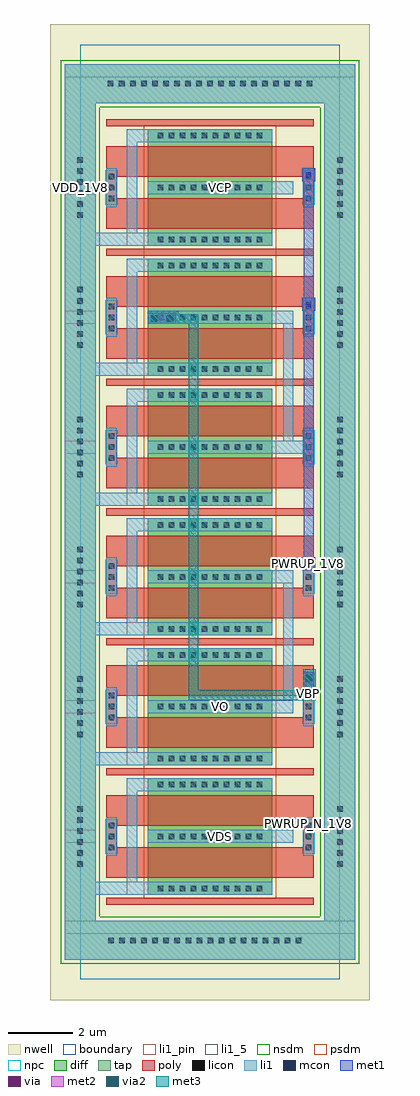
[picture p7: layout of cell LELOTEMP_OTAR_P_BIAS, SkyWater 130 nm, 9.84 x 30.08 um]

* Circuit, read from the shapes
.subckt LELOTEMP_OTAR_P_BIAS PWRUP_1V8 PWRUP_N_1V8 VBP VCP VDD_1V8 VDS VO
XM1 VDS PWRUP_N_1V8 VDD_1V8 VDD_1V8 sky130_fd_pr__pfet_01v8 w=3.84 l=0.94 m=2
XM2 VO VBP VDD_1V8 VDD_1V8 sky130_fd_pr__pfet_01v8 w=3.84 l=0.94 m=2
XM3 VO PWRUP_1V8 VDD_1V8 VDD_1V8 sky130_fd_pr__pfet_01v8 w=3.84 l=0.94 m=2
XM4 VBP VBP VDD_1V8 VDD_1V8 sky130_fd_pr__pfet_01v8 w=3.84 l=0.94 m=2
XM5 VBP PWRUP_1V8 VDD_1V8 VDD_1V8 sky130_fd_pr__pfet_01v8 w=3.84 l=0.94 m=2
XM6 VCP PWRUP_1V8 VDD_1V8 VDD_1V8 sky130_fd_pr__pfet_01v8 w=3.84 l=0.94 m=2
.ends

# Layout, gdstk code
import gdstk
lib = gdstk.Library(unit=1e-6, precision=1e-09)
def R(c, l, rs):  # rectangles x0, y0, x1, y1
    for r in rs: c.add(gdstk.rectangle(r[:2], r[2:], *l))
def A(c, l, x, y, w, h, nx, ny, dx, dy):  # array of equal rectangles
    R(c, l, [(x+i*dx, y+j*dy, x+i*dx+w, y+j*dy+h) for i in range(nx) for j in range(ny)])
nwell = (64, 20)
diff = (65, 20)
tap = (65, 44)
poly = (66, 20)
licon = (66, 44)
li1_5 = (67, 5)
li1_pin = (67, 16)
li1 = (67, 20)
mcon = (67, 44)
met1 = (68, 20)
via = (68, 44)
met2 = (69, 20)
via2 = (69, 44)
met3 = (70, 20)
nsdm = (93, 44)
psdm = (94, 20)
npc = (95, 20)
boundary = (235, 4)

reyatr_pch_11c5f0d = lib.new_cell('REYATR_PCH_11C5F0D')
R(reyatr_pch_11c5f0d, nwell, [(-0.92,-0.64,8.92,4.64)])
R(reyatr_pch_11c5f0d, diff, [(2.08,0.2,5.92,3.8)])
R(reyatr_pch_11c5f0d, tap, [(-0.48,-0.2,0.48,4.2), (7.52,-0.2,8.48,4.2)])
R(reyatr_pch_11c5f0d, poly, [(0.8,-0.11,7.2,0.11), (0.8,0.73,7.2,1.67), (0.8,1.67,1.12,2.33), (6.88,1.67,7.2,2.33), (0.8,2.33,7.2,3.27), (0.8,3.89,7.2,4.11)])
A(reyatr_pch_11c5f0d, licon, 2.385, 0.315, 0.17, 0.17, 10, 3, 0.34, 1.6)
A(reyatr_pch_11c5f0d, licon, -0.085, 1.065, 0.17, 0.17, 1, 6, 0, 0.34)
A(reyatr_pch_11c5f0d, licon, 7.915, 1.065, 0.17, 0.17, 1, 6, 0, 0.34)
A(reyatr_pch_11c5f0d, licon, 0.875, 1.575, 0.17, 0.17, 1, 3, 0, 0.34)
A(reyatr_pch_11c5f0d, licon, 6.955, 1.575, 0.17, 0.17, 1, 3, 0, 0.34)
R(reyatr_pch_11c5f0d, li1_pin, [(1.44,0.2,5.92,0.6), (-0.48,1.8,0.48,2.2), (2.08,1.8,7.2,2.2), (6.88,2.2,7.2,2.6)])
R(reyatr_pch_11c5f0d, li1, [(-0.48,-0.2,0.48,4.2), (7.52,-0.2,8.48,4.2), (1.44,0.2,5.92,0.6), (1.44,0.6,1.76,3.4), (0.8,1.4,1.12,2.6), (6.88,1.4,7.2,1.8), (2.08,1.8,7.2,2.2), (6.88,2.2,7.2,2.6), (1.44,3.4,5.92,3.8)])
R(reyatr_pch_11c5f0d, nsdm, [(-0.605,-0.325,0.605,4.325), (7.395,-0.325,8.605,4.325)])
R(reyatr_pch_11c5f0d, psdm, [(1.955,0.075,6.045,3.925)])
R(reyatr_pch_11c5f0d, npc, [(0.775,1.475,1.145,2.525), (6.855,1.475,7.225,2.525)])
R(reyatr_pch_11c5f0d, boundary, [(0,0,8,4)])
reyatr_pch_11c5f0d.add(gdstk.Label('D', (4.64,2), layer=67, texttype=5))
reyatr_pch_11c5f0d.add(gdstk.Label('G', (7.04,2.4), layer=67, texttype=5))
reyatr_pch_11c5f0d.add(gdstk.Label('S', (3.68,0.4), layer=67, texttype=5))
reyatr_pch_11c5f0d.add(gdstk.Label('B', (0,2), layer=67, texttype=5))

reyatr_pch_11c5f0 = lib.new_cell('REYATR_PCH_11C5F0')
R(reyatr_pch_11c5f0, nwell, [(-0.92,-0.64,8.92,4.64)])
R(reyatr_pch_11c5f0, diff, [(2.08,0.2,5.92,3.8)])
R(reyatr_pch_11c5f0, tap, [(-0.48,-0.2,0.48,4.2), (7.52,-0.2,8.48,4.2)])
R(reyatr_pch_11c5f0, poly, [(0.8,-0.11,7.2,0.11), (0.8,0.73,7.2,1.67), (0.8,1.67,1.12,2.33), (6.88,1.67,7.2,2.33), (0.8,2.33,7.2,3.27), (0.8,3.89,7.2,4.11)])
A(reyatr_pch_11c5f0, licon, 2.385, 0.315, 0.17, 0.17, 10, 3, 0.34, 1.6)
A(reyatr_pch_11c5f0, licon, -0.085, 1.065, 0.17, 0.17, 1, 6, 0, 0.34)
A(reyatr_pch_11c5f0, licon, 7.915, 1.065, 0.17, 0.17, 1, 6, 0, 0.34)
A(reyatr_pch_11c5f0, licon, 0.875, 1.575, 0.17, 0.17, 1, 3, 0, 0.34)
A(reyatr_pch_11c5f0, licon, 6.955, 1.575, 0.17, 0.17, 1, 3, 0, 0.34)
R(reyatr_pch_11c5f0, li1_pin, [(1.44,0.2,5.92,0.6), (-0.48,1.8,0.48,2.2), (2.08,1.8,6.56,2.2), (6.88,2.2,7.2,2.6)])
R(reyatr_pch_11c5f0, li1, [(-0.48,-0.2,0.48,4.2), (7.52,-0.2,8.48,4.2), (1.44,0.2,5.92,0.6), (1.44,0.6,1.76,3.4), (0.8,1.4,1.12,2.6), (6.88,1.4,7.2,2.6), (2.08,1.8,6.56,2.2), (1.44,3.4,5.92,3.8)])
R(reyatr_pch_11c5f0, nsdm, [(-0.605,-0.325,0.605,4.325), (7.395,-0.325,8.605,4.325)])
R(reyatr_pch_11c5f0, psdm, [(1.955,0.075,6.045,3.925)])
R(reyatr_pch_11c5f0, npc, [(0.775,1.475,1.145,2.525), (6.855,1.475,7.225,2.525)])
R(reyatr_pch_11c5f0, boundary, [(0,0,8,4)])
reyatr_pch_11c5f0.add(gdstk.Label('D', (4.32,2), layer=67, texttype=5))
reyatr_pch_11c5f0.add(gdstk.Label('G', (7.04,2.4), layer=67, texttype=5))
reyatr_pch_11c5f0.add(gdstk.Label('S', (3.68,0.4), layer=67, texttype=5))
reyatr_pch_11c5f0.add(gdstk.Label('B', (0,2), layer=67, texttype=5))

reyatr_pch_11ctaptop = lib.new_cell('REYATR_PCH_11CTAPTOP')
R(reyatr_pch_11ctaptop, nwell, [(-0.92,-0.64,8.92,3.04)])
R(reyatr_pch_11ctaptop, tap, [(-0.48,-0.2,0.48,0.6), (7.52,-0.2,8.48,0.6), (-0.48,0.6,8.48,1.8)])
A(reyatr_pch_11ctaptop, licon, 0.855, 1.115, 0.17, 0.17, 19, 1, 0.34, 0)
R(reyatr_pch_11ctaptop, li1_5, [(-0.48,1.4,8.48,1.8)])
R(reyatr_pch_11ctaptop, li1, [(-0.48,-0.2,0.48,0.6), (7.52,-0.2,8.48,0.6), (-0.48,0.6,8.48,1.8)])
R(reyatr_pch_11ctaptop, nsdm, [(-0.605,-0.325,0.605,0.475), (7.395,-0.325,8.605,0.475), (-0.605,0.475,8.605,1.925)])
R(reyatr_pch_11ctaptop, boundary, [(0,0,8,2.4)])
reyatr_pch_11ctaptop.add(gdstk.Label('B', (4,1.6), layer=67, texttype=5))

reyatr_pch_11ctapbot = lib.new_cell('REYATR_PCH_11CTAPBOT')
R(reyatr_pch_11ctapbot, nwell, [(-0.92,-0.64,8.92,3.04)])
R(reyatr_pch_11ctapbot, tap, [(-0.48,0.6,8.48,1.8), (-0.48,1.8,0.48,2.6), (7.52,1.8,8.48,2.6)])
A(reyatr_pch_11ctapbot, licon, 0.865, 1.115, 0.17, 0.17, 18, 1, 0.34, 0)
R(reyatr_pch_11ctapbot, li1_5, [(-0.48,1.4,8.48,1.8)])
R(reyatr_pch_11ctapbot, li1, [(-0.48,0.6,8.48,1.8), (-0.48,1.8,0.48,2.6), (7.52,1.8,8.48,2.6)])
R(reyatr_pch_11ctapbot, nsdm, [(-0.605,0.475,8.605,1.925), (-0.605,1.925,0.605,2.725), (7.395,1.925,8.605,2.725)])
R(reyatr_pch_11ctapbot, boundary, [(0,0,8,2.4)])
reyatr_pch_11ctapbot.add(gdstk.Label('B', (4,1.6), layer=67, texttype=5))

lelotemp_otar_p_bias = lib.new_cell('LELOTEMP_OTAR_P_BIAS')
A(lelotemp_otar_p_bias, li1_pin, 6.88, 4.6, 0.32, 0.4, 1, 3, 0, 4)
R(lelotemp_otar_p_bias, li1_pin, [(2.08,4.2,6.56,4.6), (2.08,8.2,6.56,8.6), (-0.48,24.2,0.48,24.6), (2.08,24.2,6.56,24.6)])
A(lelotemp_otar_p_bias, li1, 0, 2.6, 3.68, 0.4, 1, 6, 0, 4)
R(lelotemp_otar_p_bias, li1, [(2.08,4.2,6.56,4.6), (6.88,4.6,7.2,5), (2.08,8.2,6.56,8.6), (6.26,8.6,6.56,12.6), (6.88,8.6,7.2,9.44), (6.84,12.6,7.22,12.98), (6.88,12.98,7.2,13), (6.26,16.4,6.56,20.4), (2.08,20.2,2.92,20.52), (6.84,20.6,7.22,20.98), (-0.48,24.2,0.48,24.6), (2.08,24.2,6.56,24.6), (6.84,24.6,7.22,24.98)])
R(lelotemp_otar_p_bias, mcon, [(6.955,8.705,7.125,8.875), (6.955,9.165,7.125,9.335), (6.945,12.705,7.115,12.875), (2.185,20.275,2.355,20.445), (2.645,20.275,2.815,20.445), (6.945,20.705,7.115,20.875), (6.945,24.705,7.115,24.875)])
R(lelotemp_otar_p_bias, met1, [(6.88,8.6,7.22,9.48), (6.84,12.6,7.24,13), (6.89,13,7.19,20.6), (2.08,20.2,2.96,20.54), (6.84,20.6,7.24,21), (6.89,21,7.19,24.6), (6.84,24.6,7.24,25)])
R(lelotemp_otar_p_bias, via, [(6.975,8.725,7.125,8.875), (6.975,9.205,7.125,9.355), (2.205,20.295,2.355,20.445), (2.685,20.295,2.835,20.445)])
R(lelotemp_otar_p_bias, met2, [(6.88,8.6,7.22,9.48), (2.08,20.2,2.96,20.54)])
R(lelotemp_otar_p_bias, via2, [(6.95,8.7,7.15,8.9), (6.95,9.18,7.15,9.38), (2.18,20.27,2.38,20.47), (2.66,20.27,2.86,20.47)])
R(lelotemp_otar_p_bias, met3, [(3.34,8.6,7.26,8.9), (3.34,8.9,3.64,20.2), (6.88,8.9,7.26,9.56), (2.08,20.2,3.64,20.5), (2.08,20.5,3.04,20.58)])
A(lelotemp_otar_p_bias, psdm, 1.955, 6.325, 4.09, 0.15, 1, 5, 0, 4)
R(lelotemp_otar_p_bias, boundary, [(0,0,8,28.8)])
lelotemp_otar_p_bias.add(gdstk.Reference(reyatr_pch_11c5f0d, (0,14.4)))
lelotemp_otar_p_bias.add(gdstk.Reference(reyatr_pch_11c5f0, (0,2.4)))
lelotemp_otar_p_bias.add(gdstk.Reference(reyatr_pch_11c5f0, (0,6.4)))
lelotemp_otar_p_bias.add(gdstk.Reference(reyatr_pch_11c5f0, (0,10.4)))
lelotemp_otar_p_bias.add(gdstk.Reference(reyatr_pch_11c5f0, (0,18.4)))
lelotemp_otar_p_bias.add(gdstk.Reference(reyatr_pch_11c5f0, (0,22.4)))
lelotemp_otar_p_bias.add(gdstk.Reference(reyatr_pch_11ctaptop, (0,26.4)))
lelotemp_otar_p_bias.add(gdstk.Reference(reyatr_pch_11ctapbot, (0,0)))
lelotemp_otar_p_bias.add(gdstk.Label('PWRUP_1V8', (7.04,12.8), layer=67, texttype=5))
lelotemp_otar_p_bias.add(gdstk.Label('PWRUP_N_1V8', (7.04,4.8), layer=67, texttype=5))
lelotemp_otar_p_bias.add(gdstk.Label('VBP', (7.04,8.8), layer=67, texttype=5))
lelotemp_otar_p_bias.add(gdstk.Label('VCP', (4.32,24.4), layer=67, texttype=5))
lelotemp_otar_p_bias.add(gdstk.Label('VDD_1V8', (0,24.4), layer=67, texttype=5))
lelotemp_otar_p_bias.add(gdstk.Label('VDS', (4.32,4.4), layer=67, texttype=5))
lelotemp_otar_p_bias.add(gdstk.Label('VO', (4.32,8.4), layer=67, texttype=5))

lib.write_gds('LELOTEMP_OTAR_P_BIAS.gds')
